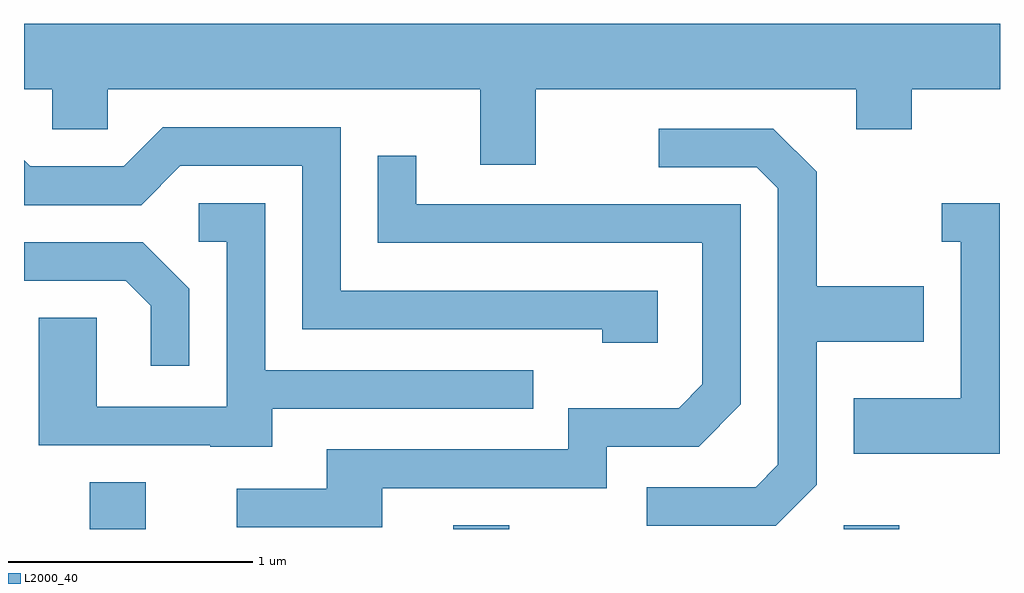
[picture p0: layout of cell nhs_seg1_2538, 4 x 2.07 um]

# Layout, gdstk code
import gdstk
lib = gdstk.Library(unit=1e-6, precision=1e-09)
def R(c, l, rs):  # rectangles x0, y0, x1, y1
    for r in rs: c.add(gdstk.rectangle(r[:2], r[2:], *l))
def P(c, l, *ps):  # polygons
    for p in ps: c.add(gdstk.Polygon(p, *l))
L2000_40 = (2000, 40)

nhs_seg1_2538 = lib.new_cell('nhs_seg1_2538')
R(nhs_seg1_2538, L2000_40, [(261.881,957.712,262.109,957.904), (263.371,957.712,263.599,957.729), (264.971,957.712,265.199,957.729)])
P(nhs_seg1_2538, L2000_40, [(263.709,959.516),(265.021,959.516),(265.021,959.351),(265.249,959.351),(265.249,959.516),(265.611,959.516),(265.611,959.784),(261.611,959.784),(261.611,959.516),(261.726,959.516),(261.726,959.351),(261.954,959.351),(261.954,959.516),(263.481,959.516),(263.481,959.206),(263.709,959.206)],
  [(264.209,958.689),(262.909,958.689),(262.909,959.359),(262.179,959.359),(262.019,959.199),(261.637,959.199),(261.611,959.225),(261.611,959.041),(262.092,959.041),(262.252,959.201),(262.751,959.201),(262.751,958.531),(263.981,958.531),(263.981,958.476),(264.209,958.476)],
  [(264.859,957.894),(264.859,958.481),(265.299,958.481),(265.299,958.709),(264.859,958.709),(264.859,959.177),(264.682,959.354),(264.213,959.354),(264.213,959.196),(264.614,959.196),(264.701,959.109),(264.701,957.977),(264.609,957.884),(264.163,957.884),(264.163,957.726),(264.692,957.726)],
  [(263.079,957.881),(263.999,957.881),(263.999,958.051),(264.377,958.051),(264.549,958.224),(264.549,959.044),(263.219,959.044),(263.219,959.243),(263.061,959.243),(263.061,958.886),(264.391,958.886),(264.391,958.307),(264.294,958.209),(263.841,958.209),(263.841,958.039),(262.851,958.039),(262.851,957.879),(262.483,957.879),(262.483,957.721),(263.079,957.721)],
  [(265.609,959.049),(265.373,959.049),(265.373,958.891),(265.451,958.891),(265.451,958.249),(265.011,958.249),(265.011,958.021),(265.609,958.021)],
  [(262.629,958.206),(263.698,958.206),(263.698,958.364),(262.599,958.364),(262.599,959.049),(262.328,959.049),(262.328,958.891),(262.441,958.891),(262.441,958.214),(261.909,958.214),(261.909,958.579),(261.671,958.579),(261.671,958.056),(262.375,958.056),(262.375,958.051),(262.629,958.051)],
  [(262.289,958.697),(262.097,958.889),(261.611,958.889),(261.611,958.731),(262.029,958.731),(262.131,958.629),(262.131,958.383),(262.289,958.383)])

lib.write_gds('nhs_seg1_2538.gds')
